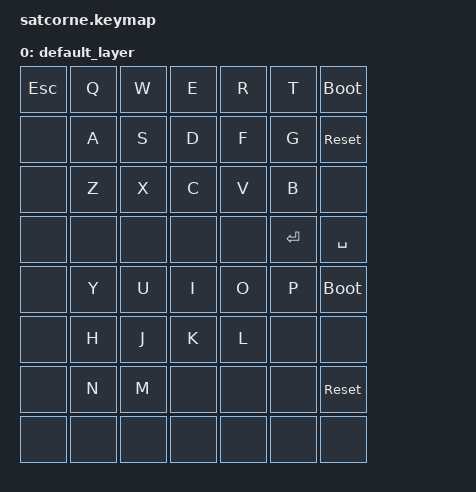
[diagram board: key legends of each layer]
#include <behaviors.dtsi>
#include <dt-bindings/zmk/keys.h>

/ {
    keymap {
        compatible = "zmk,keymap";

        default_layer {
	bindings = <
	    &kp ESC     &kp Q    &kp W    &kp E     &kp R      &kp T     &bootloader
	    &none       &kp A    &kp S    &kp D     &kp F      &kp G     &sys_reset
	    &none       &kp Z    &kp X    &kp C     &kp V      &kp B     &none
	    &none       &none    &none    &none     &none      &kp ENTER &kp SPACE

	    &none       &kp Y    &kp U    &kp I     &kp O      &kp P     &bootloader
	    &none       &kp H    &kp J    &kp K     &kp L      &none     &none
	    &none       &kp N    &kp M    &none     &none      &none     &sys_reset
	    &none       &none    &none    &none     &none      &none     &none
	>;
        };
    };
};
